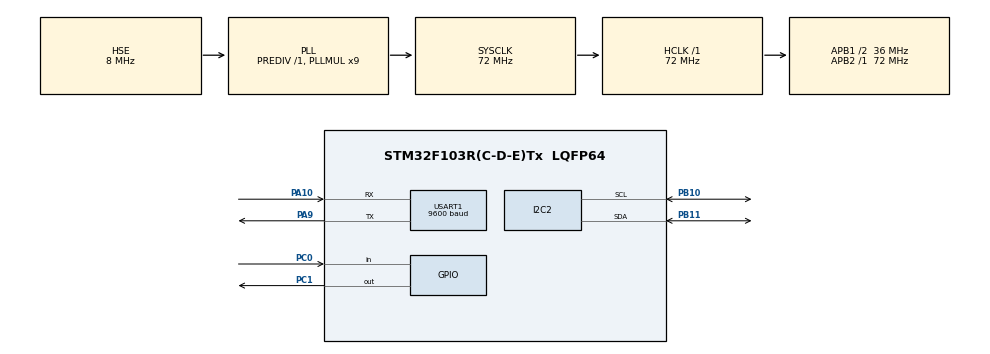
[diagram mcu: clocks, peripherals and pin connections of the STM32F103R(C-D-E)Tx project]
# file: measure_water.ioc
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Mcu.Family=STM32F1
Mcu.Name=STM32F103R(C-D-E)Tx
Mcu.Package=LQFP64
NVIC.PriorityGroup=NVIC_PRIORITYGROUP_4
NVIC.USART1_IRQn=true\:0\:0\:false\:false\:true\:true\:true\:true
PA10.Mode=Asynchronous
PA10.Signal=USART1_RX
PA13.Mode=JTAG_4_pins
PA13.Signal=SYS_JTMS-SWDIO
PA14.Mode=JTAG_4_pins
PA14.Signal=SYS_JTCK-SWCLK
PA15.Mode=JTAG_4_pins
PA15.Signal=SYS_JTDI
PA9.Mode=Asynchronous
PA9.Signal=USART1_TX
PB10.Mode=I2C
PB10.Signal=I2C2_SCL
PB11.Mode=I2C
PB11.Signal=I2C2_SDA
PB3.Mode=JTAG_4_pins
PB3.Signal=SYS_JTDO-TRACESWO
PC0.Signal=GPIO_Input
PC1.Signal=GPIO_Output
PD0-OSC_IN.Mode=HSE-External-Oscillator
PD0-OSC_IN.Signal=RCC_OSC_IN
PD1-OSC_OUT.Mode=HSE-External-Oscillator
PD1-OSC_OUT.Signal=RCC_OSC_OUT
ProjectManager.HeapSize=0x200
ProjectManager.StackSize=0x400
ProjectManager.TargetToolchain=STM32CubeIDE
RCC.AHBFreq_Value=72000000
RCC.APB1CLKDivider=RCC_HCLK_DIV2
RCC.APB1Freq_Value=36000000
RCC.APB1TimFreq_Value=72000000
RCC.APB2Freq_Value=72000000
RCC.APB2TimFreq_Value=72000000
RCC.HCLKFreq_Value=72000000
RCC.PLLMUL=RCC_PLL_MUL9
RCC.PLLSourceVirtual=RCC_PLLSOURCE_HSE
RCC.SYSCLKFreq_VALUE=72000000
RCC.SYSCLKSource=RCC_SYSCLKSOURCE_PLLCLK
RCC.USBFreq_Value=72000000
USART1.BaudRate=9600
USART1.VirtualMode=VM_ASYNC
board=custom

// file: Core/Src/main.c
/* USER CODE BEGIN Header */
/**
  ******************************************************************************
  * @file           : main.c
  * @brief          : Main program body
  ******************************************************************************
  * @attention
  *
  * Copyright (c) 2024 STMicroelectronics.
  * All rights reserved.
  *
  * This software is licensed under terms that can be found in the LICENSE file
  * in the root directory of this software component.
  * If no LICENSE file comes with this software, it is provided AS-IS.
  *
  ******************************************************************************
  */
/* USER CODE END Header */
#include "main.h"

/* USER CODE BEGIN Includes */
#include "FDC2212.h"
#include "stdio.h"
/* USER CODE END Includes */

I2C_HandleTypeDef hi2c2;

UART_HandleTypeDef huart1;

void SystemClock_Config(void);
static void MX_GPIO_Init(void);
static void MX_I2C2_Init(void);
static void MX_USART1_UART_Init(void);

/* USER CODE BEGIN 0 */

#ifdef __GNUC__
#define PUTCHAR_PROTOTYPE int __io_putchar(int ch)
#else
#define PUTCHAR_PROTOTYPE int fputc(int ch, FILE *f)
#endif

PUTCHAR_PROTOTYPE
{
 HAL_UART_Transmit(&huart1,(uint8_t*)&ch, 1, 0xFFFF);
 return ch;
 }
int fputc(int ch,FILE *f);
/* USER CODE END 0 */

int main(void)
{

  /* USER CODE BEGIN 1 */
	uint32_t val = 0;
	double frequency = 0.0;
	double cap = 0.0;
  /* USER CODE END 1 */

  /* MCU Configuration--------------------------------------------------------*/

  /* Reset of all peripherals, Initializes the Flash interface and the Systick. */
  HAL_Init();

  /* Configure the system clock */
  SystemClock_Config();

  /* Initialize all configured peripherals */
  MX_GPIO_Init();
  MX_I2C2_Init();
  MX_USART1_UART_Init();
  /* USER CODE BEGIN 2 */
  FDC2214_Init();
  /* USER CODE END 2 */

  /* Infinite loop */
  while (1)
  {

  }
}

void SystemClock_Config(void)
{
  RCC_OscInitTypeDef RCC_OscInitStruct = {0};
  RCC_ClkInitTypeDef RCC_ClkInitStruct = {0};

  /** Initializes the RCC Oscillators according to the specified parameters
  * in the RCC_OscInitTypeDef structure.
  */
  RCC_OscInitStruct.OscillatorType = RCC_OSCILLATORTYPE_HSE;
  RCC_OscInitStruct.HSEState = RCC_HSE_ON;
  RCC_OscInitStruct.HSEPredivValue = RCC_HSE_PREDIV_DIV1;
  RCC_OscInitStruct.HSIState = RCC_HSI_ON;
  RCC_OscInitStruct.PLL.PLLState = RCC_PLL_ON;
  RCC_OscInitStruct.PLL.PLLSource = RCC_PLLSOURCE_HSE;
  RCC_OscInitStruct.PLL.PLLMUL = RCC_PLL_MUL9;
  if (HAL_RCC_OscConfig(&RCC_OscInitStruct) != HAL_OK)
  {
    Error_Handler();
  }

  /** Initializes the CPU, AHB and APB buses clocks
  */
  RCC_ClkInitStruct.ClockType = RCC_CLOCKTYPE_HCLK|RCC_CLOCKTYPE_SYSCLK
                              |RCC_CLOCKTYPE_PCLK1|RCC_CLOCKTYPE_PCLK2;
  RCC_ClkInitStruct.SYSCLKSource = RCC_SYSCLKSOURCE_PLLCLK;
  RCC_ClkInitStruct.AHBCLKDivider = RCC_SYSCLK_DIV1;
  RCC_ClkInitStruct.APB1CLKDivider = RCC_HCLK_DIV2;
  RCC_ClkInitStruct.APB2CLKDivider = RCC_HCLK_DIV1;

  if (HAL_RCC_ClockConfig(&RCC_ClkInitStruct, FLASH_LATENCY_2) != HAL_OK)
  {
    Error_Handler();
  }
}

static void MX_I2C2_Init(void)
{

  hi2c2.Instance = I2C2;
  hi2c2.Init.ClockSpeed = 100000;
  hi2c2.Init.DutyCycle = I2C_DUTYCYCLE_2;
  hi2c2.Init.OwnAddress1 = 0;
  hi2c2.Init.AddressingMode = I2C_ADDRESSINGMODE_7BIT;
  hi2c2.Init.DualAddressMode = I2C_DUALADDRESS_DISABLE;
  hi2c2.Init.OwnAddress2 = 0;
  hi2c2.Init.GeneralCallMode = I2C_GENERALCALL_DISABLE;
  hi2c2.Init.NoStretchMode = I2C_NOSTRETCH_DISABLE;
  if (HAL_I2C_Init(&hi2c2) != HAL_OK)
  {
    Error_Handler();
  }

}

static void MX_USART1_UART_Init(void)
{

  huart1.Instance = USART1;
  huart1.Init.BaudRate = 9600;
  huart1.Init.WordLength = UART_WORDLENGTH_8B;
  huart1.Init.StopBits = UART_STOPBITS_1;
  huart1.Init.Parity = UART_PARITY_NONE;
  huart1.Init.Mode = UART_MODE_TX_RX;
  huart1.Init.HwFlowCtl = UART_HWCONTROL_NONE;
  huart1.Init.OverSampling = UART_OVERSAMPLING_16;
  if (HAL_UART_Init(&huart1) != HAL_OK)
  {
    Error_Handler();
  }

}

static void MX_GPIO_Init(void)
{
  GPIO_InitTypeDef GPIO_InitStruct = {0};

  /* GPIO Ports Clock Enable */
  __HAL_RCC_GPIOD_CLK_ENABLE();
  __HAL_RCC_GPIOC_CLK_ENABLE();
  __HAL_RCC_GPIOB_CLK_ENABLE();
  __HAL_RCC_GPIOA_CLK_ENABLE();

  /*Configure GPIO pin Output Level */
  HAL_GPIO_WritePin(GPIOC, GPIO_PIN_1, GPIO_PIN_RESET);

  /*Configure GPIO pin : PC0 */
  GPIO_InitStruct.Pin = GPIO_PIN_0;
  GPIO_InitStruct.Mode = GPIO_MODE_INPUT;
  GPIO_InitStruct.Pull = GPIO_NOPULL;
  HAL_GPIO_Init(GPIOC, &GPIO_InitStruct);

  /*Configure GPIO pin : PC1 */
  GPIO_InitStruct.Pin = GPIO_PIN_1;
  GPIO_InitStruct.Mode = GPIO_MODE_OUTPUT_PP;
  GPIO_InitStruct.Pull = GPIO_NOPULL;
  GPIO_InitStruct.Speed = GPIO_SPEED_FREQ_LOW;
  HAL_GPIO_Init(GPIOC, &GPIO_InitStruct);

}

void Error_Handler(void)
{
  __disable_irq();
  while (1)
  {
  }
}
